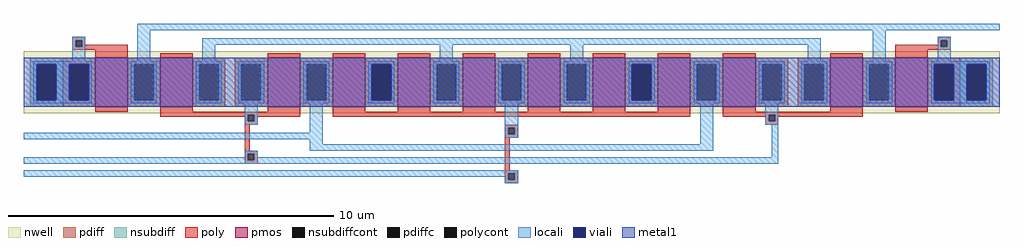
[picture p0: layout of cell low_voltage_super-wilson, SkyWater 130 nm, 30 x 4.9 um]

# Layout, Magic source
magic
tech sky130A
<< nwell >>
rect -190 -20 2810 170
<< pmos >>
rect 30 0 130 150
rect 230 0 330 150
rect 560 0 660 150
rect 760 0 860 150
rect 960 0 1060 150
rect 1160 0 1260 150
rect 1360 0 1460 150
rect 1560 0 1660 150
rect 1760 0 1860 150
rect 1960 0 2060 150
rect 2290 0 2390 150
rect 2490 0 2590 150
<< pdiff >>
rect -70 130 30 150
rect -70 20 -50 130
rect 10 20 30 130
rect -70 0 30 20
rect 130 130 230 150
rect 130 20 150 130
rect 210 20 230 130
rect 130 0 230 20
rect 330 130 430 150
rect 330 20 350 130
rect 410 20 430 130
rect 330 0 430 20
rect 460 130 560 150
rect 460 20 480 130
rect 540 20 560 130
rect 460 0 560 20
rect 660 130 760 150
rect 660 20 680 130
rect 740 20 760 130
rect 660 0 760 20
rect 860 130 960 150
rect 860 20 880 130
rect 940 20 960 130
rect 860 0 960 20
rect 1060 130 1160 150
rect 1060 20 1080 130
rect 1140 20 1160 130
rect 1060 0 1160 20
rect 1260 130 1360 150
rect 1260 20 1280 130
rect 1340 20 1360 130
rect 1260 0 1360 20
rect 1460 130 1560 150
rect 1460 20 1480 130
rect 1540 20 1560 130
rect 1460 0 1560 20
rect 1660 130 1760 150
rect 1660 20 1680 130
rect 1740 20 1760 130
rect 1660 0 1760 20
rect 1860 130 1960 150
rect 1860 20 1880 130
rect 1940 20 1960 130
rect 1860 0 1960 20
rect 2060 130 2160 150
rect 2060 20 2080 130
rect 2140 20 2160 130
rect 2060 0 2160 20
rect 2190 130 2290 150
rect 2190 20 2210 130
rect 2270 20 2290 130
rect 2190 0 2290 20
rect 2390 130 2490 150
rect 2390 20 2410 130
rect 2470 20 2490 130
rect 2390 0 2490 20
rect 2590 130 2690 150
rect 2590 20 2610 130
rect 2670 20 2690 130
rect 2590 0 2690 20
<< pdiffc >>
rect -50 20 10 130
rect 150 20 210 130
rect 350 20 410 130
rect 480 20 540 130
rect 680 20 740 130
rect 880 20 940 130
rect 1080 20 1140 130
rect 1280 20 1340 130
rect 1480 20 1540 130
rect 1680 20 1740 130
rect 1880 20 1940 130
rect 2080 20 2140 130
rect 2210 20 2270 130
rect 2410 20 2470 130
rect 2610 20 2670 130
<< nsubdiff >>
rect -170 130 -70 150
rect -170 20 -150 130
rect -90 20 -70 130
rect -170 0 -70 20
rect 2690 130 2790 150
rect 2690 20 2710 130
rect 2770 20 2790 130
rect 2690 0 2790 20
<< nsubdiffcont >>
rect -150 20 -90 130
rect 2710 20 2770 130
<< poly >>
rect -40 205 0 215
rect -40 185 -30 205
rect -10 190 0 205
rect 2620 205 2660 215
rect 2620 190 2630 205
rect -10 185 130 190
rect -40 175 130 185
rect 30 150 130 175
rect 2490 185 2630 190
rect 2650 185 2660 205
rect 2490 175 2660 185
rect 230 150 330 165
rect 560 150 660 165
rect 760 150 860 165
rect 960 150 1060 165
rect 1160 150 1260 165
rect 1360 150 1460 165
rect 1560 150 1660 165
rect 1760 150 1860 165
rect 1960 150 2060 165
rect 2290 150 2390 165
rect 2490 150 2590 175
rect 30 -15 130 0
rect 230 -15 330 0
rect 560 -15 660 0
rect 230 -25 660 -15
rect 230 -30 500 -25
rect 490 -45 500 -30
rect 520 -30 660 -25
rect 760 -15 860 0
rect 960 -15 1060 0
rect 1160 -15 1260 0
rect 1360 -15 1460 0
rect 1560 -15 1660 0
rect 1760 -15 1860 0
rect 760 -30 1860 -15
rect 1960 -15 2060 0
rect 2290 -15 2390 0
rect 2490 -15 2590 0
rect 1960 -25 2390 -15
rect 1960 -30 2100 -25
rect 520 -45 530 -30
rect 490 -55 530 -45
rect 2090 -45 2100 -30
rect 2120 -30 2390 -25
rect 2120 -45 2130 -30
rect 2090 -55 2130 -45
rect 490 -135 505 -55
rect 1290 -65 1330 -55
rect 1290 -85 1300 -65
rect 1320 -85 1330 -65
rect 1290 -95 1330 -85
rect 490 -145 530 -135
rect 490 -165 500 -145
rect 520 -165 530 -145
rect 490 -175 530 -165
rect 1290 -195 1305 -95
rect 1290 -205 1330 -195
rect 1290 -225 1300 -205
rect 1320 -225 1330 -205
rect 1290 -235 1330 -225
<< polycont >>
rect -30 185 -10 205
rect 2630 185 2650 205
rect 500 -45 520 -25
rect 2100 -45 2120 -25
rect 1300 -85 1320 -65
rect 500 -165 520 -145
rect 1300 -225 1320 -205
<< locali >>
rect 160 235 2810 255
rect -40 205 0 215
rect -40 185 -30 205
rect -10 185 0 205
rect -40 140 0 185
rect 160 140 200 235
rect 360 190 2260 210
rect 360 140 400 190
rect 1090 140 1130 190
rect 1490 140 1530 190
rect 2220 140 2260 190
rect 2420 140 2460 235
rect 2620 205 2660 215
rect 2620 185 2630 205
rect 2650 185 2660 205
rect 2620 140 2660 185
rect -160 130 20 140
rect -160 20 -150 130
rect -90 20 -50 130
rect 10 20 20 130
rect -160 10 20 20
rect 140 130 220 140
rect 140 20 150 130
rect 210 20 220 130
rect 140 10 220 20
rect 340 130 420 140
rect 340 20 350 130
rect 410 20 420 130
rect 340 10 420 20
rect 470 130 550 140
rect 470 20 480 130
rect 540 20 550 130
rect 470 10 550 20
rect 670 130 750 140
rect 670 20 680 130
rect 740 20 750 130
rect 670 10 750 20
rect 870 130 950 140
rect 870 20 880 130
rect 940 20 950 130
rect 870 10 950 20
rect 1070 130 1150 140
rect 1070 20 1080 130
rect 1140 20 1150 130
rect 1070 10 1150 20
rect 1270 130 1350 140
rect 1270 20 1280 130
rect 1340 20 1350 130
rect 1270 10 1350 20
rect 1470 130 1550 140
rect 1470 20 1480 130
rect 1540 20 1550 130
rect 1470 10 1550 20
rect 1670 130 1750 140
rect 1670 20 1680 130
rect 1740 20 1750 130
rect 1670 10 1750 20
rect 1870 130 1950 140
rect 1870 20 1880 130
rect 1940 20 1950 130
rect 1870 10 1950 20
rect 2070 130 2150 140
rect 2070 20 2080 130
rect 2140 20 2150 130
rect 2070 10 2150 20
rect 2200 130 2280 140
rect 2200 20 2210 130
rect 2270 20 2280 130
rect 2200 10 2280 20
rect 2400 130 2480 140
rect 2400 20 2410 130
rect 2470 20 2480 130
rect 2400 10 2480 20
rect 2600 130 2780 140
rect 2600 20 2610 130
rect 2670 20 2710 130
rect 2770 20 2780 130
rect 2600 10 2780 20
rect 490 -25 530 10
rect 490 -45 500 -25
rect 520 -45 530 -25
rect 490 -55 530 -45
rect 690 -80 730 10
rect -190 -100 730 -80
rect 1290 -65 1330 10
rect 1290 -85 1300 -65
rect 1320 -85 1330 -65
rect 1290 -95 1330 -85
rect 690 -115 730 -100
rect 1890 -115 1930 10
rect 2090 -25 2130 10
rect 2090 -45 2100 -25
rect 2120 -45 2130 -25
rect 2090 -55 2130 -45
rect 690 -135 1930 -115
rect 490 -145 530 -135
rect 490 -155 500 -145
rect -190 -165 500 -155
rect 520 -155 530 -145
rect 2110 -155 2130 -55
rect 520 -165 2130 -155
rect -190 -175 2130 -165
rect -190 -205 1330 -195
rect -190 -215 1300 -205
rect 1290 -225 1300 -215
rect 1320 -225 1330 -205
rect 1290 -235 1330 -225
<< viali >>
rect -150 20 -90 130
rect -50 20 10 130
rect 880 20 940 130
rect 1680 20 1740 130
rect 2610 20 2670 130
rect 2710 20 2770 130
<< metal1 >>
rect -190 130 2810 150
rect -190 20 -150 130
rect -90 20 -50 130
rect 10 20 880 130
rect 940 20 1680 130
rect 1740 20 2610 130
rect 2670 20 2710 130
rect 2770 20 2810 130
rect -190 0 2810 20
<< end >>
